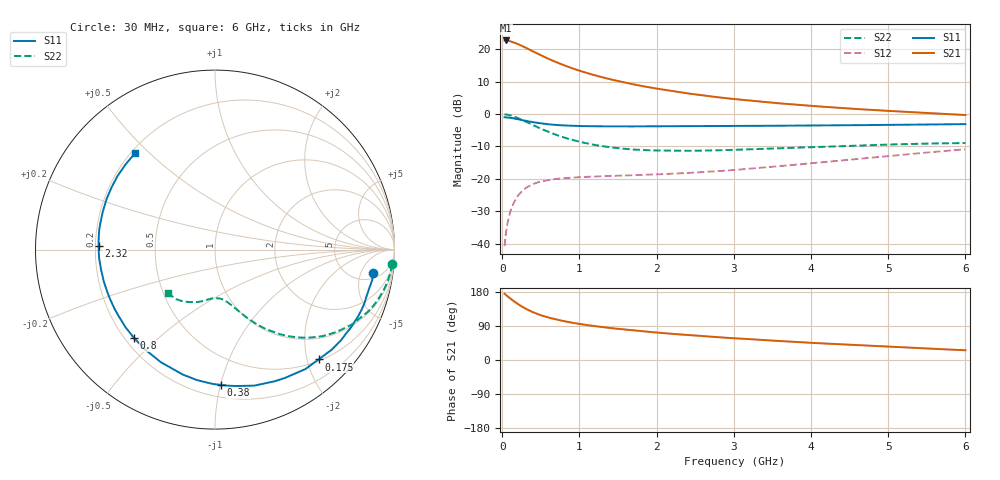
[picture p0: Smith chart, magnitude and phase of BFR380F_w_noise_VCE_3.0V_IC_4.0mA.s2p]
! Infineon Technologies  Discrete & RF Semiconductors
! BFR380F
! VCE =  3.0 V,  IC =  4.0 mA
! Common Emitter S-Parameters:  Nov 2015
# GHz  S  MA  R  50
!  f  S11  S21  S12  S22
! GHz  MAG  ANG  MAG  ANG  MAG  ANG  MAG  ANG
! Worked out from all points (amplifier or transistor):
!   206 points, 30 MHz to 6 GHz, reference 50 ohm
!   highest |S21| = 22.7 dB at 50 MHz (marker M1)
!   |S21| within 3 dB of that: start of sweep to 365.8 MHz
!   unconditionally stable (mu >= 1): 2.375 GHz to 5.099 GHz
!   at 200 MHz: K = 0.11, MSG = 23.5 dB, |S12| = -25.3 dB
!   at 1.56 GHz: K = 0.75, MSG = 14.4 dB, |S12| = -19.0 dB
!   at 6 GHz: K = 0.95, MSG = 5.3 dB, |S12| = -10.9 dB
!   lowest NFmin = 0.76 dB at 450 MHz
!   S11 on the Smith chart (normalised r, x): 30 MHz: 7, -8; 175 MHz: 0.53, -2.21; 380 MHz: 0.29, -1.00; 800 MHz: 0.24, -0.42; 2.32 GHz: 0.21, +0.01; 6 GHz: 0.22, +0.45
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0.03  0.8919 -8.4  13.65 174.7  0.0091 86.1  0.9904 -4.7
0.05  0.8859 -14.0  13.7 170.8  0.0153 83.2  0.9852 -7.8
0.08  0.8828 -22.3  13.52 166.2  0.0242 78.5  0.9711 -12.4
0.12  0.8666 -33.0  13.12 159.5  0.0352 73.1  0.9436 -18.2
0.175  0.8409 -46.7  12.42 151.5  0.0485 66.0  0.8934 -25.3
0.2  0.8349 -52.8  12.1 147.8  0.0542 63.4  0.8706 -28.5
0.26  0.8056 -65.6  11.21 140.4  0.0651 57.3  0.8093 -34.9
0.3  0.789 -73.8  10.64 135.6  0.0714 53.9  0.7681 -38.9
0.38  0.7544 -87.5  9.51 127.8  0.0808 48.1  0.6908 -45.2
0.45  0.7334 -98.1  8.645 121.7  0.0873 44.2  0.6313 -49.8
0.5  0.7186 -104.6  8.08 118.1  0.0907 41.9  0.5928 -52.6
0.6  0.696 -115.7  7.103 111.8  0.0959 38.3  0.5282 -57.2
0.7  0.6794 -124.9  6.308 106.7  0.0996 35.8  0.4758 -60.8
0.8  0.6677 -132.6  5.66 102.3  0.1022 34.1  0.4337 -63.8
1.04  0.6514 -146.6  4.513 94.0  0.1064 32.1  0.3642 -69.2
1.5  0.6446 -164.0  3.229 82.1  0.1114 32.8  0.2969 -77.4
2.02  0.6472 -176.3  2.449 72.1  0.1172 37.0  0.2734 -85.2
2.32  0.6491 178.2  2.156 67.2  0.1217 40.1  0.2706 -89.2
3.1  0.6554 167.0  1.662 56.3  0.1397 48.5  0.2825 -98.7
4.1  0.667 153.9  1.311 44.3  0.1777 56.0  0.31 -109.5
5.1  0.6813 141.7  1.102 34.3  0.2296 59.1  0.3404 -122.6
6  0.6983 129.7  0.965 25.7  0.2855 57.6  0.3568 -137.2
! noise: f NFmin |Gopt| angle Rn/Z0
0.45  0.76  0.33  41  0.13
0.9  0.77  0.32  86  0.16
1.8  1.22  0.4  146  0.09
1.9  1.36  0.42  149  0.09
2.4  1.57  0.44  166  0.08
3.5  2.35  0.52  -165  0.1
